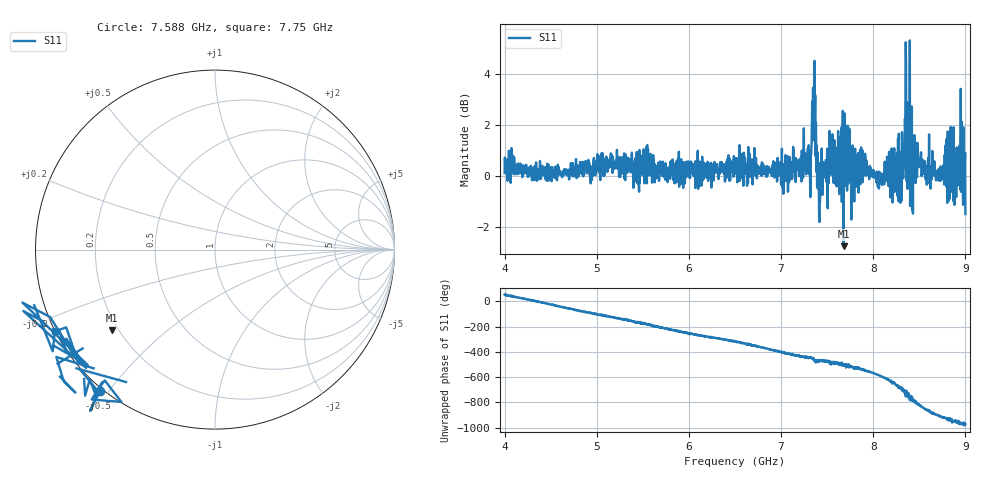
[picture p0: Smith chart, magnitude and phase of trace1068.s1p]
! Created with skrf 1.8.0 (http://scikit-rf.org).
# Hz S RI R 50.0
!freq ReS11 ImS11
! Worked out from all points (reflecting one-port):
!   1601 points, 4 GHz to 9 GHz, reference 50 ohm
!   lowest |S11| = -2.8 dB at 7.678 GHz (marker M1), VSWR 6.35, Z = 8.78 - j16.7 ohm
!   phase of S11 starts at 52 deg and turns -1024 deg over the sweep
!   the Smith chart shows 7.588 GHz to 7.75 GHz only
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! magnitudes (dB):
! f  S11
! 4 GHz  0.1
! 4.625 GHz  -0.1
! 5.25 GHz  0.2
! 5.875 GHz  0.0
! 6.5 GHz  0.4
! 7.125 GHz  0.5
! 7.294 GHz  0.7
! 7.356 GHz  2.7
! 7.369 GHz  3.1
! 7.4 GHz  0.2
! 7.428 GHz  -0.1
! 7.534 GHz  0.2
! 7.591 GHz  1.1
! 7.678 GHz  -2.8
! 7.703 GHz  -0.4
! 7.75 GHz  0.0
! 8.306 GHz  -0.8
! 8.316 GHz  0.5
! 8.331 GHz  0.3
! 8.375 GHz  1.2
! 8.384 GHz  2.5
! 8.394 GHz  1.8
! 8.425 GHz  -0.4
! 8.447 GHz  1.6
! 8.459 GHz  -0.3
! 8.703 GHz  0.0
! 8.972 GHz  0.5
! 9 GHz  -1.5
